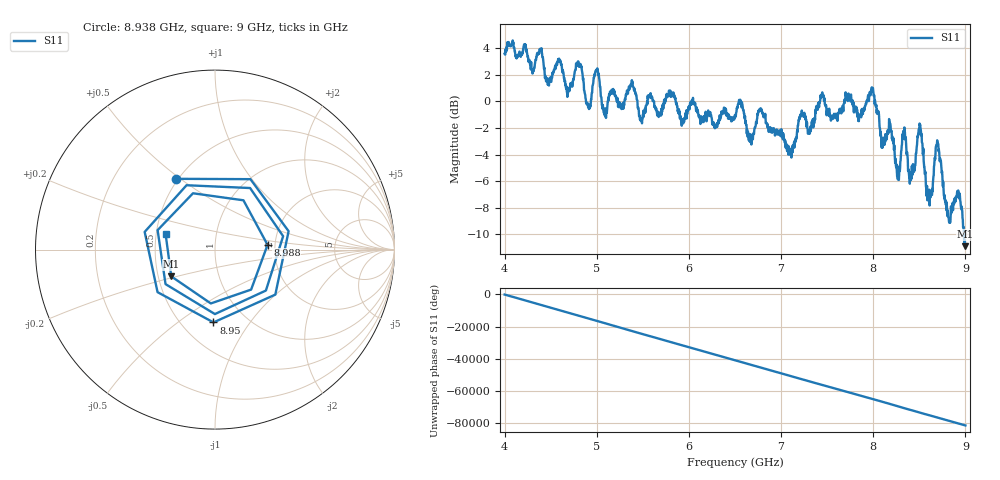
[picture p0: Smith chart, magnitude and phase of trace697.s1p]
! Created with skrf 1.8.0 (http://scikit-rf.org).
# Hz S RI R 50.0
!freq ReS11 ImS11
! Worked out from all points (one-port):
!   1601 points, 4 GHz to 9 GHz, reference 50 ohm
!   lowest |S11| = -10.9 dB at 8.997 GHz (marker M1), VSWR 1.80, Z = 29.3 - j9.52 ohm
!   |S11| at or under -10 dB: 8.984153 GHz to end of sweep
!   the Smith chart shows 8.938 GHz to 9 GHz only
!   S11 on the Smith chart (normalised r, x): 8.938 GHz: 0.49, +0.48; 8.95 GHz: 0.71, -0.69; 8.988 GHz: 1.82, +0.11; 9 GHz: 0.56, +0.11
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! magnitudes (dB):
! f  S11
! 4 GHz  3.6
! 4.625 GHz  2.3
! 4.909 GHz  -0.2
! 4.997 GHz  2.4
! 5.25 GHz  -0.2
! 5.375 GHz  1.2
! 5.484 GHz  -1.5
! 5.875 GHz  -0.4
! 6.5 GHz  -1.0
! 7.125 GHz  -3.8
! 7.441 GHz  0.5
! 7.75 GHz  0.2
! 7.988 GHz  0.7
! 8.103 GHz  -3.0
! 8.197 GHz  -2.2
! 8.262 GHz  -5.7
! 8.331 GHz  -2.5
! 8.375 GHz  -4.4
! 8.428 GHz  -5.5
! 8.506 GHz  -1.8
! 8.597 GHz  -7.0
! 8.694 GHz  -2.9
! 8.812 GHz  -8.7
! 8.938 GHz  -6.9
! 8.95 GHz  -7.8
! 8.988 GHz  -10.6
! 8.997 GHz  -10.9
! 9 GHz  -10.8
